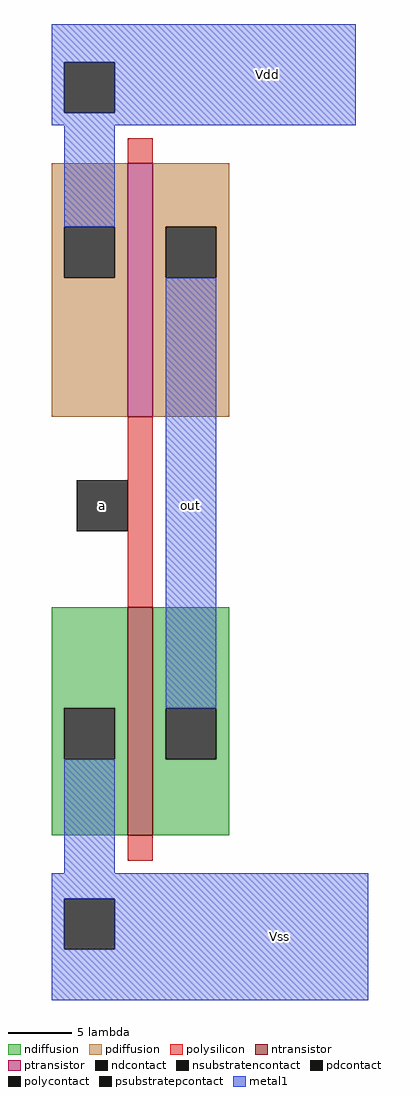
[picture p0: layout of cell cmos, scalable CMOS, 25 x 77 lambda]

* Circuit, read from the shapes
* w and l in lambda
.subckt cmos Vdd Vss a out
M1 out a Vss Vss nfet w=18 l=2
M2 out a Vdd Vdd pfet w=20 l=2
.ends

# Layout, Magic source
magic
tech scmos
<< polysilicon >>
rect 6 -3 8 -1
rect 6 -38 8 -23
rect 6 -58 8 -56
<< ndiffusion >>
rect 0 -46 6 -38
rect 0 -50 1 -46
rect 5 -50 6 -46
rect 0 -56 6 -50
rect 8 -46 14 -38
rect 8 -50 9 -46
rect 13 -50 14 -46
rect 8 -56 14 -50
<< pdiffusion >>
rect 0 -8 6 -3
rect 0 -12 1 -8
rect 5 -12 6 -8
rect 0 -23 6 -12
rect 8 -8 14 -3
rect 8 -12 9 -8
rect 13 -12 14 -8
rect 8 -23 14 -12
<< metal1 >>
rect 0 5 24 8
rect 0 1 1 5
rect 5 1 24 5
rect 0 0 24 1
rect 1 -8 5 0
rect 9 -46 13 -12
rect 1 -59 5 -50
rect 0 -61 25 -59
rect 0 -65 1 -61
rect 5 -65 25 -61
rect 0 -69 25 -65
<< ntransistor >>
rect 6 -56 8 -38
<< ptransistor >>
rect 6 -23 8 -3
<< polycontact >>
rect 2 -32 6 -28
<< ndcontact >>
rect 1 -50 5 -46
rect 9 -50 13 -46
<< pdcontact >>
rect 1 -12 5 -8
rect 9 -12 13 -8
<< psubstratepcontact >>
rect 1 -65 5 -61
<< nsubstratencontact >>
rect 1 1 5 5
<< labels >>
rlabel metal1 11 -30 11 -30 1 out
rlabel polycontact 4 -30 4 -30 3 a
rlabel metal1 17 4 17 4 5 Vdd
rlabel metal1 18 -64 18 -64 1 Vss
<< end >>
